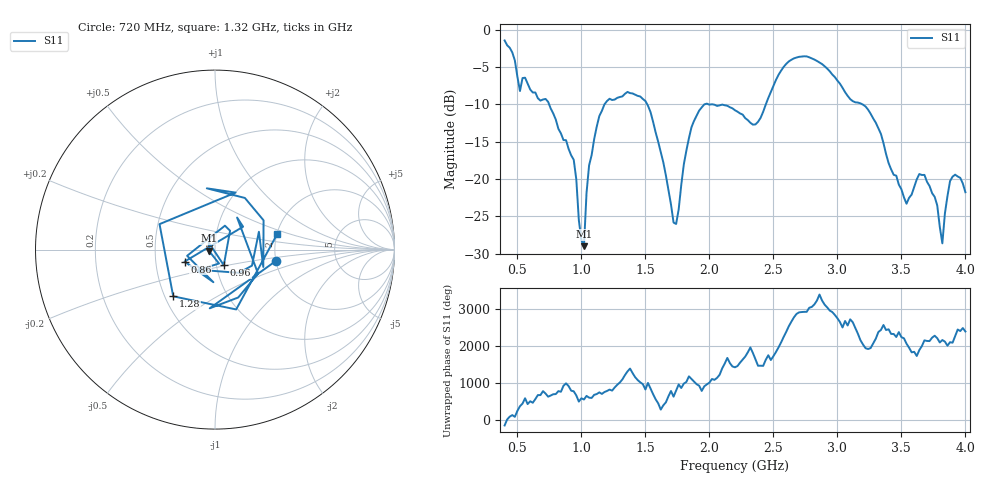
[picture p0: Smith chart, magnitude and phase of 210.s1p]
!Created with skrf (http://scikit-rf.org).
# Hz S RI R 50.0
!freq ReS11 ImS11
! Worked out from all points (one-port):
!   181 points, 400 MHz to 4 GHz, reference 50 ohm
!   lowest |S11| = -29.0 dB at 1.02 GHz (marker M1), VSWR 1.07, Z = 46.6 - j0.472 ohm
!   |S11| at or under -10 dB: 747.5 MHz to 1.18 GHz (432.9 MHz wide, 44.9 % of centre); 1.514 GHz to 1.963 GHz (449.2 MHz wide, 25.8 % of centre); 3.195 GHz to end of sweep (the widest 3 of 5)
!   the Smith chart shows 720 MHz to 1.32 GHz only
!   S11 on the Smith chart (normalised r, x): 720 MHz: 1.99, -0.29; 860 MHz: 0.70, -0.10; 960 MHz: 1.09, -0.19; 1.28 GHz: 0.55, -0.33; 1.32 GHz: 2.01, +0.40
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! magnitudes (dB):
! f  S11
! 400 MHz  -1.5
! 520 MHz  -8.2
! 720 MHz  -9.3
! 860 MHz  -14.8
! 960 MHz  -20.0
! 980 MHz  -25.5
! 1.02 GHz  -29.0
! 1.06 GHz  -18.2
! 1.12 GHz  -13.0
! 1.28 GHz  -9.1
! 1.3 GHz  -9.0
! 1.32 GHz  -8.9
! 1.52 GHz  -10.2
! 1.72 GHz  -25.8
! 1.76 GHz  -24.1
! 1.82 GHz  -16.2
! 1.92 GHz  -10.8
! 2.2 GHz  -10.8
! 2.36 GHz  -12.7
! 2.66 GHz  -3.9
! 3.1 GHz  -9.3
! 3.26 GHz  -11.3
! 3.56 GHz  -22.5
! 3.68 GHz  -19.4
! 3.78 GHz  -23.5
! 3.82 GHz  -28.6
! 3.88 GHz  -20.3
! 4 GHz  -21.8
